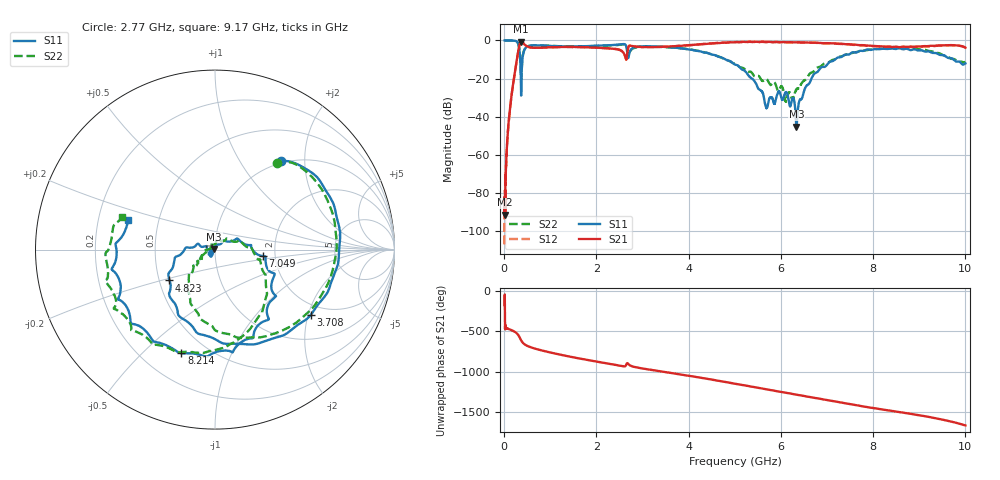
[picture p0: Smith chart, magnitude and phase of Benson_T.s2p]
!	Fieldfox Controller
!	Chapman University - Class ENG398
!	Introduction to RF - DMG (2024)
!Created with skrf (http://scikit-rf.org).
# Hz S RI R 50.0
!freq ReS11 ImS11 ReS21 ImS21 ReS12 ImS12 ReS22 ImS22
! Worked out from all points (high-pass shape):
!   8001 points, 10 MHz to 10 GHz, reference 50 ohm
!   highest |S21| = -0.58 dB at 369.6 MHz (marker M1); lowest = -91.4 dB at 12.5 MHz (marker M2)
!   |S21| within 3 dB of the highest: 995.7 MHz to 1.767 GHz (771.6 MHz wide, 55.9 % of centre); 2.691 GHz to 9.984 GHz (7.292 GHz wide, 115 % of centre)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
!   lowest |S11| = -45.3 dB at 6.336 GHz (marker M3), VSWR 1.01, Z = 49.5 + j0.301 ohm
!   |S11| at or under -10 dB: 348.3 MHz to 395.3 MHz (47.07 MHz wide, 12.7 % of centre); 4.796 GHz to 7.174 GHz (2.378 GHz wide, 39.7 % of centre); 9.743 GHz to end of sweep
!   |S22| runs from -32.0 to 0.0 dB; largest |S21 - S12| = 0.028
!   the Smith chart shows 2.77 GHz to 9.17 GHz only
!   S11 on the Smith chart (normalised r, x): 2.77 GHz: 0.97, +1.53; 3.708 GHz: 1.67, -2.08; 4.823 GHz: 0.57, -0.21; 7.049 GHz: 1.72, -0.14; 8.214 GHz: 0.36, -0.66; 9.17 GHz: 0.33, +0.15
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1e7  0.9989 -0.0356  -5.22e-05 -9.49e-07  -3.31e-05 1.11e-05  0.9991 -0.0349
1.24975e7  0.9992 -0.045  1.31e-05 -2.34e-05  -1.96e-05 -4.51e-05  0.9984 -0.0438
1.486112e8  0.8487 -0.5244  -0.0154 -0.0235  -0.0153 -0.0233  0.8538 -0.5149
2.722375e8  0.2859 -0.8924  -0.2846 -0.079  -0.2835 -0.0804  0.3178 -0.8833
3.6964e8  0.0271 -0.0289  -0.2603 0.8982  -0.2604 0.8975  0.0461 -0.0804
4.732862e8  0.4742 -0.4473  0.4955 0.5353  0.4935 0.5358  0.4565 -0.4691
7.2928e8  -0.0518 -0.7448  0.6404 -0.0492  0.6416 -0.0493  -0.0616 -0.7457
1.675832e9  -0.5883 0.3822  -0.3486 -0.57  -0.3522 -0.5695  -0.6063 0.3571
2.6074e9  0.598 0.5339  -0.3557 0.242  -0.3563 0.2532  0.5157 0.6095
2.769738e9  0.366 0.4923  -0.6044 0.3861  -0.6084 0.3999  0.3434 0.4829
3.340416e9  0.6915 -0.0148  0.00968 0.6753  0.0181 0.6741  0.6768 0.0597
3.707549e9  0.5338 -0.3638  0.3868 0.5918  0.3875 0.5946  0.582 -0.2712
4.822682e9  -0.2535 -0.1718  0.5638 -0.6688  0.5762 -0.669  -0.1382 -0.2779
5.005e9  -0.2256 -0.0603  0.3375 -0.8356  0.3377 -0.8427  -0.1494 -0.1917
5.762991e9  -0.0287 -0.013  -0.7616 -0.5111  -0.7613 -0.5079  -0.0637 -0.0292
6.336168e9  -0.00453 0.00304  -0.8215 0.3557  -0.8165 0.3547  0.00691 0.0513
6.670832e9  0.0941 0.0464  -0.4657 0.7421  -0.4656 0.7388  0.1352 0.0531
7.049204e9  0.2673 -0.0363  0.0956 0.841  0.0886 0.8339  0.2581 -0.0928
8.214288e9  -0.1876 -0.5769  0.6147 -0.3333  0.6095 -0.329  -0.2948 -0.5356
8.335416e9  -0.2998 -0.5218  0.5434 -0.4317  0.5265 -0.4268  -0.3708 -0.499
9.169581e9  -0.4866 0.1652  -0.306 -0.6377  -0.3087 -0.6159  -0.5157 0.1797
1e10  0.2241 0.1101  -0.4607 0.4536  -0.4536 0.4597  0.2406 0.1379
